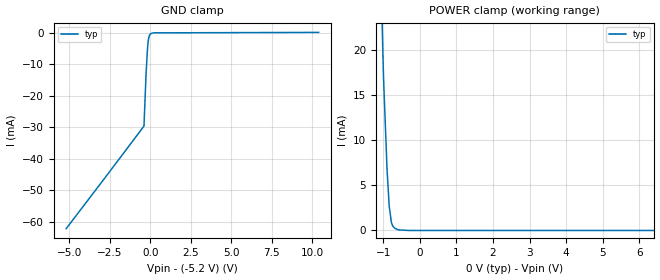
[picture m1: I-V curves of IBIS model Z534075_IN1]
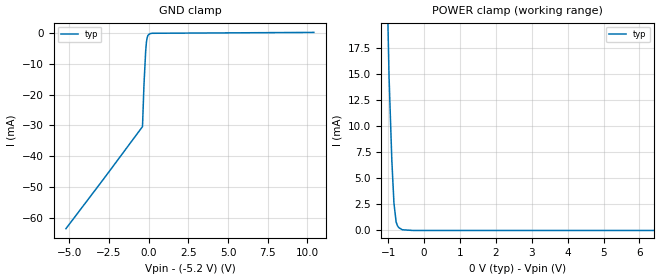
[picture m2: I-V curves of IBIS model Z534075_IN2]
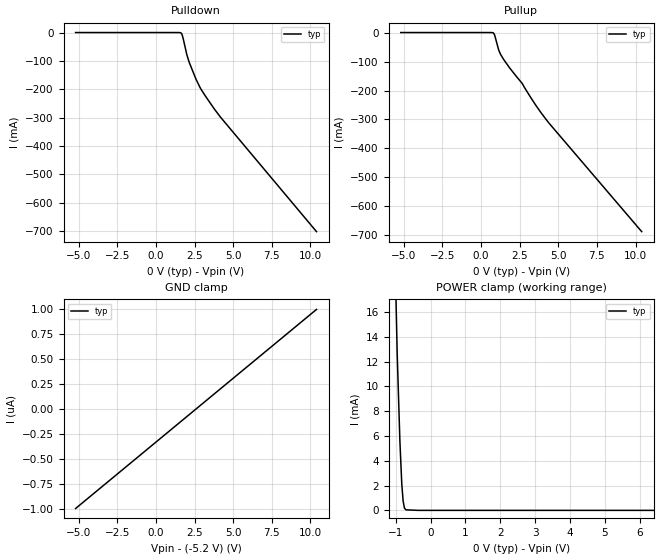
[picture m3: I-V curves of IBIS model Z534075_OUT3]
| YOU ARE ONLY AUTHORIZED TO USE THIS SOFTWARE
| ACCORDING TO LICENSOR'S LICENSE RESTRICTIONS.
[IBIS Ver] 3.1
[File Name] mc100lvel17dw_-52v.ibs
[File Rev] 3.0
[Source] Measured and created by ICX Technology
[Date] Friday 7/14/00 9:08:21 AM
[Copyright]
| (C) COPYRIGHT 1993-2000
| MENTOR GRAPHICS CORPORATION
| ICX STANDARD LIBRARY, ICX PROJECT MODELING,
| ICX CUSTOM MODELING, ICX VENDOR MODEL
| ALL RIGHTS RESERVED.
| THE FOLLOWING ARE TRADEMARKS OR SERVICE MARKS OF
| MENTOR GRAPHICS CORPORATION:ICX (R), ICX STANDARD
| LIBRARY(R), ICX PROJECT MODELING(R), ICX CUSTOM
| MODELING(R), qualityIBIS(TM), MODELVIEWER(TM),
| AND MODELEDITOR(TM)
| ALL COPIES OF SOFTWARE, INCLUDING BUT NOT LIMITED TO
| ANY MODIFICATIONS, ENHANCEMENTS OR DERIVATIVE WORKS,
| MUST CONTAIN ALL MENTOR GRAPHICS CORPORATION'S
| NOTICES AND LEGENDS, INCLUDING THOSE EMBEDDED IN
| SOFTWARE AND THOSE AFFIXED TO SOFTWARE MEDIUM
| AND CONTAINER, AS RECEIVED FROM MENTOR GRAPHICS
| CORPORATION.
|  ZAP Model Builder 2.7
[Component] MC100LVEL17DW_-5_2v
[Manufacturer] OnSemiconductor
[Package]
| variable   typ   min   max
R_pkg  .178ohms NA NA
L_pkg  4.43nH NA NA
C_pkg  .62pF NA NA
[Pin] signal_name  model_name  R_pin  L_pin C_pin
1 VCC POWER .186 5.37n .68p
2 D0 Z534075_IN1 .182 4.89n .65p
3 _D0 Z534075_IN2 .178 4.42n .62p
4 D1 Z534075_IN1 .174 3.96n .59p
5 _D1 Z534075_IN2 .17 3.51n .56p
6 D2 Z534075_IN1 .17 3.51n .56p
7 _D2 Z534075_IN2 .174 3.96n .59p
8 D3 Z534075_IN1 .178 4.42n .62p
9 _D3 Z534075_IN2 .182 4.89n .65p
10 VBB NC .186 5.37n .68p
11 VEE POWER .186 5.37n .68p
12 _Q3 Z534075_OUT3 .182 4.89n .65p
13 Q3 Z534075_OUT3 .178 4.42n .62p
14 _Q2 Z534075_OUT3 .174 3.96n .59p
15 Q2 Z534075_OUT3 .17 3.51n .56p
16 _Q1 Z534075_OUT3 .17 3.51n .56p
17 Q1 Z534075_OUT3 .174 3.96n .59p
18 _Q0 Z534075_OUT3 .178 4.42n .62p
19 Q0 Z534075_OUT3 .182 4.89n .65p
20 VCC POWER .186 5.37n .68p
| Models and submodels in the file (3): Z534075_IN1 (Input_ECL), Z534075_IN2 (Input_ECL), Z534075_OUT3 (Output_ECL)
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| (C) COPYRIGHT 1993-2000
| MENTOR GRAPHICS CORPORATION
| ICX STANDARD LIBRARY, ICX PROJECT MODELING,
| ICX CUSTOM MODELING, ICX VENDOR MODEL
| ALL RIGHTS RESERVED.
| THE FOLLOWING ARE TRADEMARKS OR SERVICE MARKS OF
| MENTOR GRAPHICS CORPORATION:ICX (R), ICX STANDARD
| LIBRARY(R), ICX PROJECT MODELING(R), ICX CUSTOM
| MODELING(R), qualityIBIS(TM), MODELVIEWER(TM),
| AND MODELEDITOR(TM)
| ALL COPIES OF SOFTWARE, INCLUDING BUT NOT LIMITED TO
| ANY MODIFICATIONS, ENHANCEMENTS OR DERIVATIVE WORKS,
| MUST CONTAIN ALL MENTOR GRAPHICS CORPORATION'S
| NOTICES AND LEGENDS, INCLUDING THOSE EMBEDDED IN
| SOFTWARE AND THOSE AFFIXED TO SOFTWARE MEDIUM
| AND CONTAINER, AS RECEIVED FROM MENTOR GRAPHICS
| CORPORATION.
| Model Application Version 1.89 2/18/99.
[Model] Z534075_IN1
Model_type Input_ECL
Vinl = -1.475V
Vinh = -1.165V
C_comp 4.000pF NA NA
| variable typ   min   max
[Voltage Range] -5.200V NA NA
[GND Clamp Reference] -5.200V NA NA
[POWER Clamp Reference] 0.000V NA NA
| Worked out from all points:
|   GND clamp passes 1 mA (typ) near -0.06 V on its own axis
|   POWER clamp passes 1 mA (typ) near -0.78 V on its own axis
[GND Clamp]
-5.2V     -62.21mA   NA         NA
-2.796V   -46.02mA   NA         NA
-391mV    -29.63mA   NA         NA
-264mV    -13.26mA   NA         NA
-181mV    -5.542mA   NA         NA
-132mV    -2.666mA   NA         NA
-98mV     -1.604mA   NA         NA
-49mV     -733uA     NA         NA
6mV       -362.8uA   NA         NA
107mV     -86.69uA   NA         NA
220mV     -4.592uA   NA         NA
10.4V     141.9uA    NA         NA
[POWER Clamp]
-5.2V     1.518A     NA         NA
-1.172V   56.47mA    NA         NA
-1.063V   27.74mA    NA         NA
-995.7mV  17.04mA    NA         NA
-898.6mV  6.771mA    NA         NA
-839.3mV  2.697mA    NA         NA
-779.2mV  874.2uA    NA         NA
-742.3mV  490.3uA    NA         NA
-683.6mV  235.3uA    NA         NA
-586.5mV  63.19uA    NA         NA
-293.2mV  0A         NA         NA
10.4V     0A         NA         NA
| (C) COPYRIGHT 1993-2000
| MENTOR GRAPHICS CORPORATION
| ICX STANDARD LIBRARY, ICX PROJECT MODELING,
| ICX CUSTOM MODELING, ICX VENDOR MODEL
| ALL RIGHTS RESERVED.
| THE FOLLOWING ARE TRADEMARKS OR SERVICE MARKS OF
| MENTOR GRAPHICS CORPORATION:ICX (R), ICX STANDARD
| LIBRARY(R), ICX PROJECT MODELING(R), ICX CUSTOM
| MODELING(R), qualityIBIS(TM), MODELVIEWER(TM),
| AND MODELEDITOR(TM)
| ALL COPIES OF SOFTWARE, INCLUDING BUT NOT LIMITED TO
| ANY MODIFICATIONS, ENHANCEMENTS OR DERIVATIVE WORKS,
| MUST CONTAIN ALL MENTOR GRAPHICS CORPORATION'S
| NOTICES AND LEGENDS, INCLUDING THOSE EMBEDDED IN
| SOFTWARE AND THOSE AFFIXED TO SOFTWARE MEDIUM
| AND CONTAINER, AS RECEIVED FROM MENTOR GRAPHICS
| CORPORATION.
| Model Application Version 1.89 2/18/99.
[Model] Z534075_IN2
Model_type Input_ECL
Vinl = -1.475V
Vinh = -1.165V
C_comp 4.000pF NA NA
| variable typ   min   max
[Voltage Range] -5.200V NA NA
[GND Clamp Reference] -5.200V NA NA
[POWER Clamp Reference] 0.000V NA NA
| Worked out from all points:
|   GND clamp passes 1 mA (typ) near -0.06 V on its own axis
|   POWER clamp passes 1 mA (typ) near -0.79 V on its own axis
[GND Clamp]
-5.2V     -63.59mA   NA         NA
-2.791V   -47.18mA   NA         NA
-382mV    -30.41mA   NA         NA
-288mV    -16.68mA   NA         NA
-180mV    -5.672mA   NA         NA
-131mV    -2.78mA    NA         NA
-98mV     -1.717mA   NA         NA
-49mV     -845.1uA   NA         NA
8mV       -456.8uA   NA         NA
107mV     -162.5uA   NA         NA
221mV     -53.57uA   NA         NA
10.4V     233.4uA    NA         NA
[POWER Clamp]
-5.2V     1.68A      NA         NA
-1.113V   48.9mA     NA         NA
-1.015V   20.98mA    NA         NA
-976.4mV  14.72mA    NA         NA
-898.6mV  6.676mA    NA         NA
-839.8mV  2.609mA    NA         NA
-779.6mV  822.8uA    NA         NA
-742.4mV  454.4uA    NA         NA
-702.9mV  265.2uA    NA         NA
-606mV    68.14uA    NA         NA
-303mV    0A         NA         NA
10.4V     0A         NA         NA
| (C) COPYRIGHT 1993-2000
| MENTOR GRAPHICS CORPORATION
| ICX STANDARD LIBRARY, ICX PROJECT MODELING,
| ICX CUSTOM MODELING, ICX VENDOR MODEL
| ALL RIGHTS RESERVED.
| THE FOLLOWING ARE TRADEMARKS OR SERVICE MARKS OF
| MENTOR GRAPHICS CORPORATION:ICX (R), ICX STANDARD
| LIBRARY(R), ICX PROJECT MODELING(R), ICX CUSTOM
| MODELING(R), qualityIBIS(TM), MODELVIEWER(TM),
| AND MODELEDITOR(TM)
| ALL COPIES OF SOFTWARE, INCLUDING BUT NOT LIMITED TO
| ANY MODIFICATIONS, ENHANCEMENTS OR DERIVATIVE WORKS,
| MUST CONTAIN ALL MENTOR GRAPHICS CORPORATION'S
| NOTICES AND LEGENDS, INCLUDING THOSE EMBEDDED IN
| SOFTWARE AND THOSE AFFIXED TO SOFTWARE MEDIUM
| AND CONTAINER, AS RECEIVED FROM MENTOR GRAPHICS
| CORPORATION.
| Model Application Version 1.89 2/18/99.
[Model] Z534075_OUT3
Model_type Output_ECL
Vref=-2.000V
Rref=50.00ohms
Cref=0.000F
Vmeas=-1.320V
C_comp 8.000pF NA NA
| variable typ   min   max
[Voltage Range] -5.200V NA NA
[POWER Clamp Reference] 0.000V NA NA
[Pullup Reference] 0.000V NA NA
[Pulldown Reference] 0.000V NA NA
[GND Clamp Reference] -5.200V NA NA
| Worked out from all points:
|   POWER clamp passes 1 mA (typ) near -0.79 V on its own axis
[GND Clamp]
-5.2V     -1uA       NA         NA
10.4V     1uA        NA         NA
[Pulldown]
-5.2V     225.4uA    NA         NA
1.607V    -673uA     NA         NA
1.699V    -7.648mA   NA         NA
1.766V    -20.73mA   NA         NA
2.002V    -77.69mA   NA         NA
2.155V    -104.6mA   NA         NA
2.593V    -164.1mA   NA         NA
2.916V    -199.5mA   NA         NA
3.205V    -224mA     NA         NA
4.182V    -298.5mA   NA         NA
10.4V     -702.8mA   NA         NA
[Pullup]
-5.2V     176.1uA    NA         NA
807.6mV   -1.663mA   NA         NA
878.9mV   -8.608mA   NA         NA
1.143V    -60.7mA    NA         NA
1.265V    -75.4mA    NA         NA
1.837V    -121.1mA   NA         NA
2.664V    -175.7mA   NA         NA
3.282V    -229.8mA   NA         NA
3.907V    -278.6mA   NA         NA
4.369V    -310.9mA   NA         NA
10.4V     -687.4mA   NA         NA
[POWER Clamp]
-5.2V     1.444A     NA         NA
-1.227V   71.8mA     NA         NA
-1.089V   32.86mA    NA         NA
-1.025V   21.22mA    NA         NA
-956.3mV  12.58mA    NA         NA
-878.9mV  5.55mA     NA         NA
-825mV    2.104mA    NA         NA
-786.2mV  742.9uA    NA         NA
-748.2mV  176.8uA    NA         NA
-704.1mV  41.7uA     NA         NA
-352.1mV  0A         NA         NA
10.4V     0A         NA         NA
[Ramp]
| variable typ min max
dV/dt_r 446.8m/876.4p NA NA
dV/dt_f 446.8m/914.7p NA NA
R_load = 50.00Ohms
